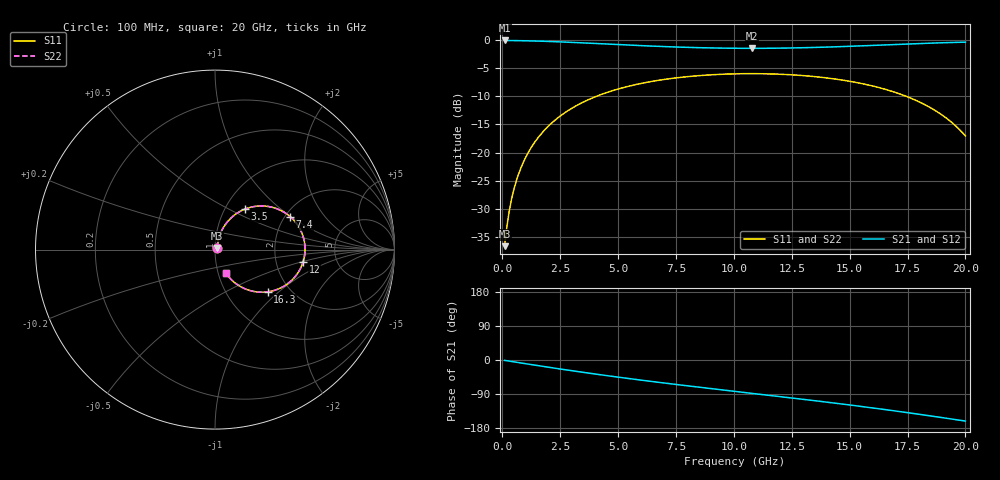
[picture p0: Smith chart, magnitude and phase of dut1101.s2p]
! Touchstone file exported from HFSS 2026.1.0
!  File:  C:/ffzhzh/LocalFiles/Ansys_Project_Files/temp_train_TSV_RDL_1101_1783303564_38820.aedt
!  Generated:  10:19:04 AM Jul  6, 2026
!  Design:  TSV_RDL
!  Project:  temp_train_TSV_RDL_1101_1783303564_38820
! Variables:
!  h_bsmrdl = 4.88um
!  h_ox = 20um
!  h_rdl = 5um
!  h_sub = 97.52um
!  h_tmrdl = 4.63um
!  h_tsv = 97.52um
!  h_via = 3um
!  l_bsmrdl = 109.27um
!  l_sub = 2552.93um
!  l_tmrdl = 428.32um
!  m_sub = 200um
!  pitch = 45.13um
!  r_tsv = 5.15um
!  s_tmrdl = 10um
!  w_bsmrdl = 16.02um
!  w_sub = 500um
!  w_tmrdl = 21.26um
!  x_tsv_center1 = 438.95um
!  x_tsv_center2 = 564.24um
!  x_tsv_center3 = 1013.82um
!  x_tsv_center4 = 1139.11um
!  x_tsv_center5 = 1588.69um
!  x_tsv_center6 = 1713.98um
# GHz S MA R 50.000000
! Terminal data exported
! Port[1] = TM_RDL1_1_T1
! Port[2] = TM_RDL5_1_T1
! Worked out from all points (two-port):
!   200 points, 100 MHz to 20 GHz, reference 50 ohm
!   highest |S21| = -0.10 dB at 100 MHz (marker M1); lowest = -1.5 dB at 10.8 GHz (marker M2)
!   |S21| within 3 dB of the highest: start of sweep to end of sweep
!   lowest |S11| = -36.6 dB at 100 MHz (marker M3), VSWR 1.03, Z = 51.2 + j0.955 ohm
!   |S11| at or under -10 dB: start of sweep to 4.072 GHz; 17.44 GHz to end of sweep
!   |S22| runs from -36.6 to -6.0 dB; largest |S21 - S12| = 4.5e-13
!   S11 on the Smith chart (normalised r, x): 100 MHz: 1.02, +0.02; 3.5 GHz: 1.24, +0.61; 7.4 GHz: 2.13, +0.99; 12 GHz: 2.86, -0.52; 16.3 GHz: 1.55, -0.85; 20 GHz: 1.09, -0.28
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0.1  0.01478 39.1  0.9887 -1.0  0.9887 -1.0  0.01478 39.1
! Gamma 0 0 0 0
! Port Impedance 50 0 50 0
0.2  0.02214 56.0  0.9881 -2.0  0.9881 -2.0  0.02214 56.0
0.3  0.0303 63.4  0.9875 -3.0  0.9875 -3.0  0.0303 63.4
0.5  0.04712 69.4  0.9861 -4.9  0.9861 -4.9  0.04712 69.4
0.8  0.07274 71.6  0.9838 -7.8  0.9838 -7.8  0.07274 71.6
1.1  0.09832 71.2  0.9811 -10.7  0.9811 -10.7  0.09832 71.2
1.6  0.1401 68.5  0.9751 -15.4  0.9751 -15.4  0.1401 68.5
2.1  0.1803 64.9  0.9676 -20.1  0.9676 -20.1  0.1803 64.9
3.5  0.2808 53.5  0.9407 -32.7  0.9407 -32.7  0.2808 53.5
5  0.3665 41.5  0.9089 -45.3  0.9089 -45.3  0.3665 41.5
6.8  0.4397 27.9  0.8752 -59.3  0.8752 -59.3  0.4397 27.9
7.4  0.4575 23.6  0.8661 -63.8  0.8661 -63.8  0.4575 23.6
10.1  0.5001 4.9  0.8427 -83.2  0.8427 -83.2  0.5 4.9
10.8  0.5017 0.2  0.8417 -88.1  0.8417 -88.1  0.5017 0.2
12  0.4957 -8.0  0.8449 -96.6  0.8449 -96.6  0.4957 -8.0
13.4  0.4743 -17.7  0.8561 -106.6  0.8561 -106.6  0.4743 -17.6
14.9  0.433 -28.4  0.8756 -117.9  0.8756 -117.9  0.433 -28.3
16.3  0.3761 -38.7  0.8988 -128.9  0.8988 -128.9  0.3761 -38.7
16.7  0.3564 -41.8  0.9059 -132.2  0.9059 -132.2  0.3564 -41.8
18.6  0.2428 -56.3  0.9378 -148.5  0.9378 -148.5  0.2428 -56.2
19.4  0.186 -61.9  0.9486 -155.7  0.9486 -155.7  0.186 -61.9
20  0.1408 -65.4  0.9548 -161.2  0.9548 -161.2  0.1408 -65.3
